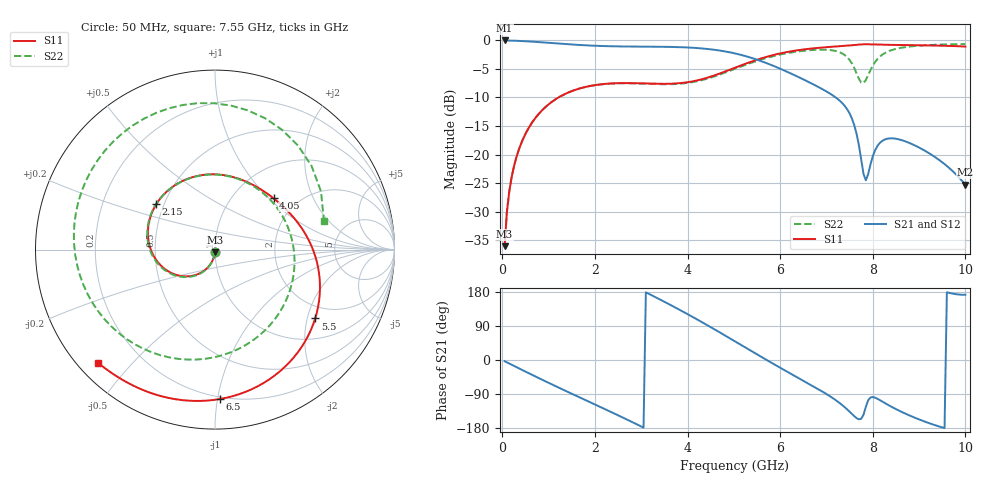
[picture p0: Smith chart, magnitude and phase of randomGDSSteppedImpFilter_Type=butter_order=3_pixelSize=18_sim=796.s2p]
! freq	dB(S11)	phase(S11)	dB(S12)	phase(S12)
!  dB(S21)	phase(S21)	dB(S22)	phase(S22)
!S-par simulation data
#  GHz  S  DB  R 50
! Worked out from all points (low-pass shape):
!   200 points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, 50 MHz to 10 GHz, reference 50 ohm
!   highest |S21| = -0.01 dB at 50 MHz (marker M1); lowest = -25.3 dB at 10 GHz (marker M2)
!   |S21| within 3 dB of the highest: start of sweep to 5.359 GHz
!   lowest |S11| = -36.0 dB at 50 MHz (marker M3), VSWR 1.03, Z = 49.9 - j1.57 ohm
!   |S11| at or under -10 dB: start of sweep to 1.212 GHz
!   |S22| runs from -36.0 to -0.6 dB; largest |S21 - S12| = 0
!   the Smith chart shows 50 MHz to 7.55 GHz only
!   S11 on the Smith chart (normalised r, x): 50 MHz: 1.00, -0.03; 2.15 GHz: 0.45, +0.28; 4.05 GHz: 1.51, +1.07; 5.5 GHz: 1.58, -2.24; 6.5 GHz: 0.19, -1.02; 7.55 GHz: 0.06, -0.40
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0.05  -36.05 -92.8  -0.01 -3.1  -0.01 -3.1  -36.01 -92.9
0.2  -24.03 -102.8  -0.04 -12.4  -0.04 -12.4  -24.03 -102.3
0.5  -16.39 -121.6  -0.14 -30.6  -0.14 -30.6  -16.38 -120.5
1.1  -10.59 -157.7  -0.48 -66.1  -0.48 -66.1  -10.59 -155.7
1.75  -8.24 164.8  -0.84 -103.2  -0.84 -103.2  -8.25 167.6
2.15  -7.67 142.3  -0.98 -125.8  -0.98 -125.8  -7.68 144.9
2.8  -7.49 106.1  -1.08 -163.4  -1.08 -163.4  -7.51 106.1
3.4  -7.61 73.9  -1.11 160.0  -1.11 160.0  -7.67 65.5
4.05  -7.26 41.3  -1.26 117.8  -1.26 117.8  -7.38 13.7
4.55  -6.22 16.7  -1.61 83.2  -1.61 83.2  -6.39 -31.0
5.05  -4.71 -9.5  -2.33 47.4  -2.33 47.4  -4.90 -76.9
5.5  -3.38 -34.5  -3.38 14.9  -3.38 14.9  -3.58 -117.3
6.05  -2.19 -64.8  -5.13 -23.8  -5.13 -23.8  -2.39 -165.1
6.5  -1.59 -88.1  -6.82 -54.5  -6.82 -54.5  -1.82 155.9
6.7  -1.40 -97.9  -7.63 -68.2  -7.63 -68.2  -1.67 137.9
7.2  -1.07 -120.8  -10.00 -105.9  -10.00 -105.9  -1.86 83.8
7.55  -0.85 -135.9  -13.69 -142.4  -13.69 -142.4  -4.05 14.7
7.8  -0.68 -147.2  -23.37 -144.3  -23.37 -144.3  -7.47 -104.0
8  -0.70 -156.3  -20.31 -97.7  -20.31 -97.7  -4.42 168.9
8.35  -0.77 -171.1  -17.17 -119.8  -17.17 -119.8  -1.87 104.7
9.1  -0.86 157.5  -19.21 -161.5  -19.21 -161.5  -0.86 41.6
10  -1.08 114.7  -25.27 172.2  -25.27 172.2  -0.65 -6.4
